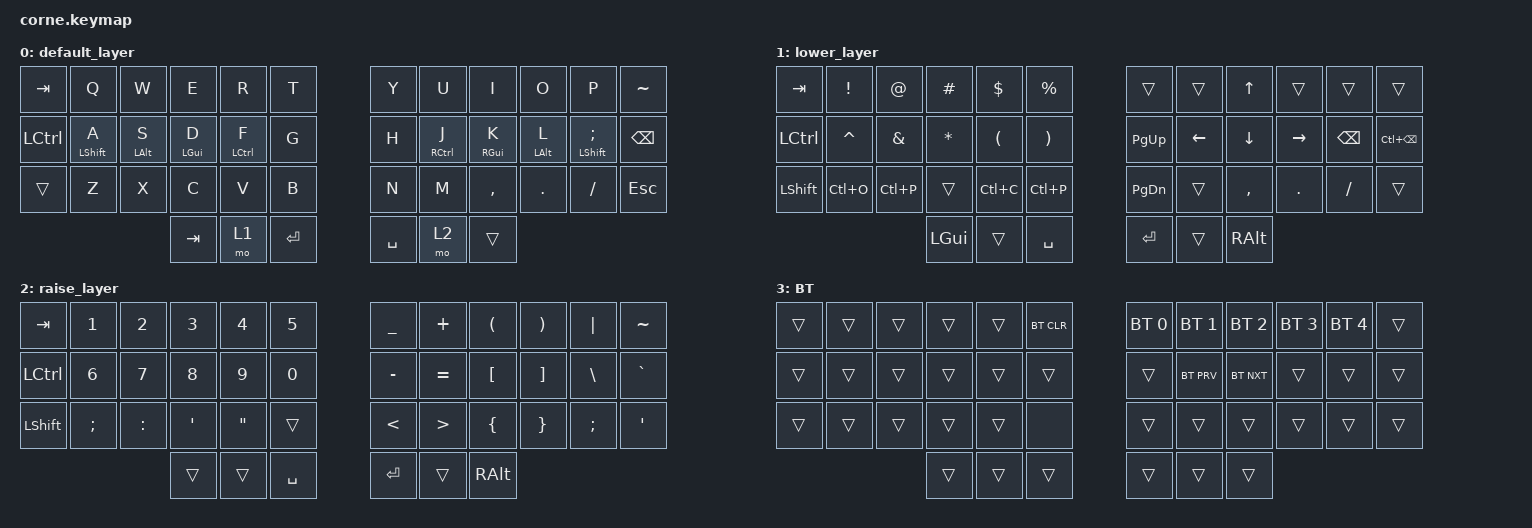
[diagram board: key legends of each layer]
/*
 * Copyright (c) 2020 The ZMK Contributors
 *
 * SPDX-License-Identifier: MIT
 */

#include <behaviors.dtsi>
#include <dt-bindings/zmk/bt.h>
#include <dt-bindings/zmk/keys.h>

/ {
    combos {
        compatible = "zmk,combos";

        layer3 {
            bindings = <&mo 3>;
            key-positions = <37 40>;
        };
    };

    keymap {
        compatible = "zmk,keymap";

        default_layer {
            // -----------------------------------------------------------------------------------------
            // |  TAB |  Q  |  W  |  E  |  R  |  T  |   |  Y  |  U   |  I  |  O  |  P  | BKSP |
            // | CTRL |  A  |  S  |  D  |  F  |  G  |   |  H  |  J   |  K  |  L  |  ;  |  '   |
            // | SHFT |  Z  |  X  |  C  |  V  |  B  |   |  N  |  M   |  ,  |  .  |  /  | ESC  |
            //                    | GUI | LWR | SPC |   | ENT | RSE  | ALT |

            bindings = <
&kp TAB    &kp Q             &kp W           &kp E           &kp R               &kp T      &kp Y      &kp U                &kp I            &kp O           &kp P                     &kp TILDE
&kp LCTRL  &mt LEFT_SHIFT A  &mt LEFT_ALT S  &mt LEFT_GUI D  &mt LEFT_CONTROL F  &kp G      &kp H      &mt RIGHT_CONTROL J  &mt RIGHT_GUI K  &mt LEFT_ALT L  &mt LEFT_SHIFT SEMICOLON  &kp BACKSPACE
&trans     &kp Z             &kp X           &kp C           &kp V               &kp B      &kp N      &kp M                &kp COMMA        &kp DOT         &kp FSLH                  &kp ESC
                                             &kp TAB         &mo 1               &kp RET    &kp SPACE  &mo 2                &trans
            >;
        };

        lower_layer {
            // -----------------------------------------------------------------------------------------
            // |  TAB |  1  |  2  |  3  |  4  |  5  |   |  6  |  7  |  8  |  9  |  0  | BKSP |
            // | BTCLR| BT1 | BT2 | BT3 | BT4 | BT5 |   | LFT | DWN |  UP | RGT |     |      |
            // | SHFT |     |     |     |     |     |   |     |     |     |     |     |      |
            //                    | GUI |     | SPC |   | ENT |     | ALT |

            bindings = <
&kp TAB    &kp EXCLAMATION  &kp AT_SIGN    &kp HASH      &kp DOLLAR            &kp PERCENT              &trans         &trans          &kp UP_ARROW    &trans           &trans         &trans
&kp LCTRL  &kp CARET        &kp AMPERSAND  &kp ASTERISK  &kp LEFT_PARENTHESIS  &kp RIGHT_PARENTHESIS    &kp PAGE_UP    &kp LEFT_ARROW  &kp DOWN_ARROW  &kp RIGHT_ARROW  &kp BACKSPACE  &kp LC(BACKSPACE)
&kp LSHFT  &kp LC(O)        &kp LC(P)      &trans        &kp LC(C)             &kp LC(P)                &kp PAGE_DOWN  &trans          &kp COMMA       &kp PERIOD       &kp SLASH      &trans
                                           &kp LGUI      &trans                &kp SPACE                &kp RET        &trans          &kp RALT
            >;
        };

        raise_layer {
            // -----------------------------------------------------------------------------------------
            // |  TAB |  !  |  @  |  #  |  $  |  %  |   |  ^  |  &  |  *  |  (  |  )  | BKSP |
            // | CTRL |     |     |     |     |     |   |  -  |  =  |  [  |  ]  |  \  |  `   |
            // | SHFT |     |     |     |     |     |   |  _  |  +  |  {  |  }  | "|" |  ~   |
            //                    | GUI |     | SPC |   | ENT |     | ALT |

            bindings = <
&kp TAB    &kp NUMBER_1   &kp NUMBER_2  &kp NUMBER_3      &kp NUMBER_4       &kp NUMBER_5    &kp UNDERSCORE  &kp PLUS          &kp LEFT_PARENTHESIS  &kp RIGHT_PARENTHESIS  &kp PIPE       &kp TILDE
&kp LCTRL  &kp NUMBER_6   &kp NUMBER_7  &kp NUMBER_8      &kp NUMBER_9       &kp NUMBER_0    &kp MINUS       &kp EQUAL         &kp LBKT              &kp RBKT               &kp BSLH       &kp GRAVE
&kp LSHFT  &kp SEMICOLON  &kp COLON     &kp SINGLE_QUOTE  &kp DOUBLE_QUOTES  &trans          &kp LESS_THAN   &kp GREATER_THAN  &kp LBRC              &kp RBRC               &kp SEMICOLON  &kp SINGLE_QUOTE
                                        &trans            &trans             &kp SPACE       &kp RET         &trans            &kp RALT
            >;
        };

        layer_3 {
            bindings = <
&trans  &trans  &trans  &trans  &trans  &bt BT_CLR    &bt BT_SEL 0  &bt BT_SEL 1  &bt BT_SEL 2  &bt BT_SEL 3  &bt BT_SEL 4  &trans
&trans  &trans  &trans  &trans  &trans  &trans        &trans        &bt BT_PRV    &bt BT_NXT    &trans        &trans        &trans
&trans  &trans  &trans  &trans  &trans  &none         &trans        &trans        &trans        &trans        &trans        &trans
                        &trans  &trans  &trans        &trans        &trans        &trans
            >;

            label = "BT";
        };
    };
};
